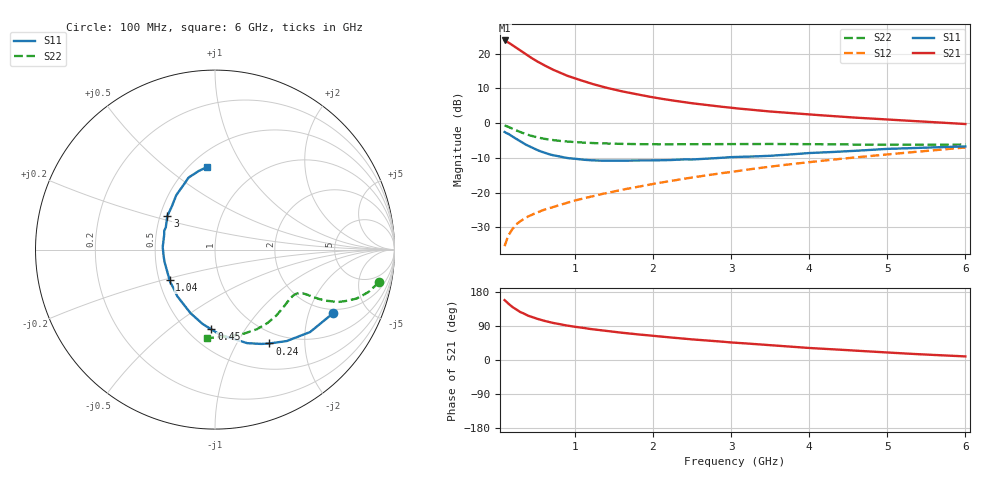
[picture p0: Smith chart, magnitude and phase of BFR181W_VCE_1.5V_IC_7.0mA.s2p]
! Infineon Technologies  Discrete & RF Semiconductors
! BFR181W
! VCE =  1.5 V,  IC =  7.0 mA
! Common Emitter S-Parameters:  Nov 2015
# GHz  S  MA  R  50
!  f  S11  S21  S12  S22
! GHz  MAG  ANG  MAG  ANG  MAG  ANG  MAG  ANG
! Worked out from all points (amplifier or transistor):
!   192 points, 100 MHz to 6 GHz, reference 50 ohm
!   highest |S21| = 23.8 dB at 100 MHz (marker M1)
!   |S21| within 3 dB of that: start of sweep to 306.7 MHz
!   unconditionally stable (mu >= 1): 1.035 GHz to 3.164 GHz
!   at 440 MHz: K = 0.65, MSG = 22.7 dB, |S12| = -26.4 dB
!   at 1.7 GHz: K = 1.10, MAG = 11.8 dB, |S12| = -18.7 dB
!   at 6 GHz: K = 0.79, MSG = 3.4 dB, |S12| = -7.0 dB
!   S11 on the Smith chart (normalised r, x): 100 MHz: 1.84, -2.94; 240 MHz: 0.84, -1.38; 450 MHz: 0.65, -0.72; 1.04 GHz: 0.57, -0.21; 3 GHz: 0.55, +0.23; 6 GHz: 0.60, +0.71
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0.1  0.7483 -28.1  15.54 158.0  0.017 75.8  0.9315 -11.3
0.15  0.7013 -40.9  14.5 148.2  0.0243 71.2  0.8852 -15.6
0.2  0.6476 -51.9  13.34 139.9  0.0299 66.8  0.8361 -19.0
0.24  0.6045 -59.9  12.41 134.4  0.034 64.1  0.7973 -20.8
0.3  0.5512 -71.0  11.13 126.7  0.0388 61.5  0.7466 -23.0
0.4  0.4752 -86.6  9.339 116.9  0.0454 59.3  0.6795 -24.8
0.45  0.4447 -92.6  8.627 113.5  0.0481 59.0  0.6557 -25.1
0.5  0.4198 -99.5  7.95 109.6  0.0509 58.8  0.632 -25.5
0.6  0.38 -110.9  6.885 103.7  0.0566 58.8  0.5986 -25.9
0.7  0.3504 -120.4  6.032 98.7  0.0613 59.6  0.5753 -26.0
0.86  0.3223 -133.7  5.056 92.4  0.0696 61.1  0.5501 -26.4
1.04  0.3045 -146.3  4.274 86.6  0.0792 62.7  0.532 -27.1
1.1  0.2993 -149.8  4.069 84.9  0.0824 63.1  0.5274 -27.4
1.2  0.2933 -155.8  3.736 81.8  0.0878 63.8  0.5197 -28.0
1.5  0.2887 -170.5  3.052 74.3  0.104 65.6  0.5068 -30.1
2.08  0.2924 167.8  2.28 62.3  0.1386 67.4  0.498 -35.6
2.5  0.3007 155.7  1.938 54.4  0.1654 67.8  0.4986 -40.3
3  0.3252 144.7  1.665 46.3  0.199 67.4  0.5016 -46.9
3.1  0.3274 142.7  1.625 45.0  0.2066 67.1  0.5012 -48.4
4.1  0.3763 123.7  1.314 30.6  0.2832 63.4  0.4992 -63.8
5.1  0.4304 108.5  1.114 18.6  0.364 58.0  0.4892 -80.5
6  0.4632 95.2  0.974 9.5  0.4475 52.1  0.4952 -95.3
